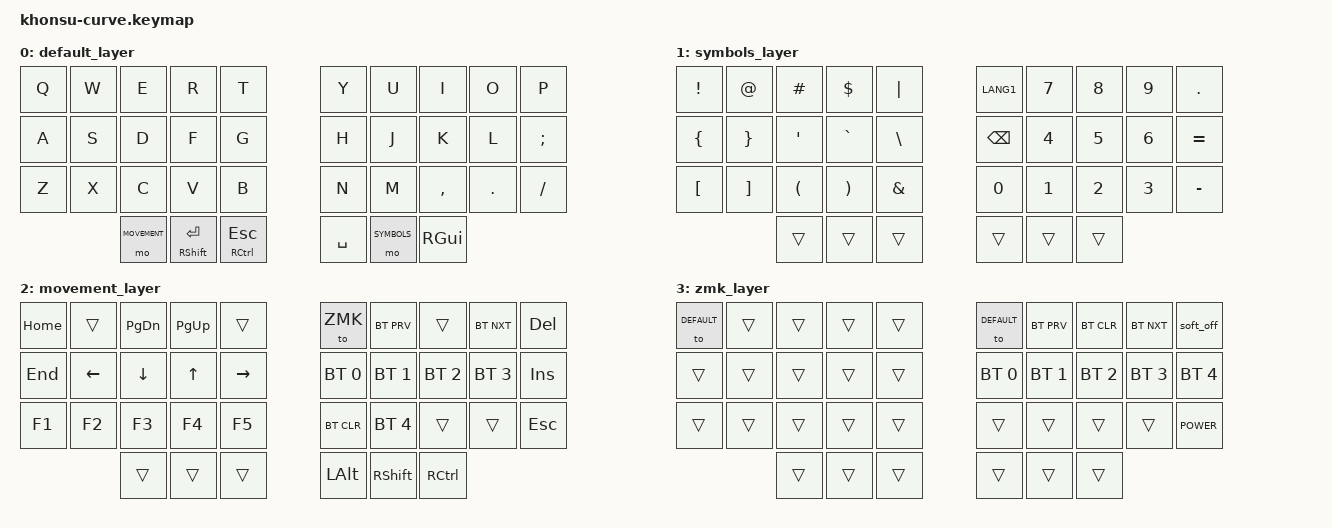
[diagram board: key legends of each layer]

#include <behaviors.dtsi>
#include <dt-bindings/zmk/keys.h>
#include <dt-bindings/zmk/bt.h>
#include <dt-bindings/zmk/outputs.h>

&soft_off {
  hold-time-ms = <5000>;
};
#define DEFAULT 0
#define SYMBOLS 1
#define MOVEMENT 2
#define ZMK 3
/ {
  combos {
    compatible = "zmk,combos";
    combo_power_off_1 {
      timeout-ms = <25>;
      bindings = <&kp K_POWER>;
      key-positions = <0 9>;
    };
    combo_esc_1 {
      timeout-ms = <25>;
      bindings = <&kp ESC>;
      key-positions = <6 7>;
    };
    combo_esc_2 {
      timeout-ms = <25>;
      bindings = <&kp ESC>;
      key-positions = <3 2>;
    };
    combo_enter_1 {
      timeout-ms = <25>;
      bindings = <&kp RET>;
      key-positions = <16 17>;
    };
    combo_enter_2 {
      timeout-ms = <25>;
      bindings = <&kp RET>;
      key-positions = <12 13>;
    };
    combo_tab_1 {
      timeout-ms = <25>;
      bindings = <&kp TAB>;
      key-positions = <26 27>;
    };
    combo_tab_2 {
      timeout-ms = <25>;
      bindings = <&kp TAB>;
      key-positions = <22 23>;
    };
    combo_bkspc_1 {
      timeout-ms = <25>;
      bindings = <&kp BSPC>;
      key-positions = <15 16>;
    };
    combo_bkspc_2 {
      timeout-ms = <25>;
      bindings = <&kp BSPC>;
      key-positions = <13 14>;
    };
    combo_ctl_r_1 {
      timeout-ms = <25>;
      slow-release;
      bindings = <&kp RCTRL>;
      key-positions = <17 18>;
    };
    combo_ctl_l_1 {
      timeout-ms = <25>;
      slow-release;
      bindings = <&kp LCTRL>;
      key-positions = <11 12>;
    };
    combo_alt_1 {
      timeout-ms = <25>;
      slow-release;
      bindings = <&kp LALT>;
      key-positions = <27 28>;
    };
    combo_alt_2 {
      timeout-ms = <25>;
      slow-release;
      bindings = <&kp LALT>;
      key-positions = <21 22>;
    };
    combo_gui_r_1 {
      timeout-ms = <25>;
      slow-release;
      bindings = <&kp RGUI>;
      key-positions = <7 8>;
    };
    combo_gui_l_1 {
      timeout-ms = <25>;
      slow-release;
      bindings = <&kp LGUI>;
      key-positions = <1 2>;
    };
    combo_alt_ctrl_1 {
      timeout-ms = <25>;
      slow-release;
      bindings = <&kp LA(LCTRL)>;
      key-positions = <3 4>;
    };
    combo_alt_ctrl_2 {
      timeout-ms = <25>;
      slow-release;
      bindings = <&kp LA(LCTRL)>;
      key-positions = <5 6>;
    };
    combo_alt_ctrl_3 {
      timeout-ms = <25>;
      slow-release;
      bindings = <&kp LA(LCTRL)>;
      key-positions = <16 17 18>;
    };
    combo_alt_ctrl_4 {
      timeout-ms = <25>;
      slow-release;
      bindings = <&kp LA(LCTRL)>;
      key-positions = <11 12 13>;
    };
    combo_to_zmk_1 {
      timeout-ms = <25>;
      slow-release;
      bindings = <&mo ZMK>;
      key-positions = <20 21 22>;
    };
    combo_shift_alt_1 {
      timeout-ms = <25>;
      slow-release;
      bindings = <&kp RS(LALT)>;
      key-positions = <26 27 28>;
    };
    combo_shift_alt_2 {
      timeout-ms = <25>;
      slow-release;
      bindings = <&kp RS(LALT)>;
      key-positions = <21 22 23>;
    };
    combo_shift_gui_1 {
      timeout-ms = <25>;
      slow-release;
      bindings = <&kp RS(LGUI)>;
      key-positions = <6 7 8>;
    };
    combo_shift_gui_2 {
      timeout-ms = <25>;
      slow-release;
      bindings = <&kp RS(LGUI)>;
      key-positions = <1 2 3>;
    };
    combo_shift_alt_ctrl_1 {
      timeout-ms = <25>;
      slow-release;
      bindings = <&kp LA(RS(LCTRL))>;
      key-positions = <25 26>;
    };
    combo_shift_alt_ctrl_2 {
      timeout-ms = <25>;
      slow-release;
      bindings = <&kp LA(RS(LCTRL))>;
      key-positions = <23 24>;
    };
    combo_shift_ctrl_1 {
      timeout-ms = <25>;
      slow-release;
      bindings = <&kp RS(LCTRL)>;
      key-positions = <16 17 18 19>;
    };
    combo_shift_ctrl_2 {
      timeout-ms = <25>;
      slow-release;
      bindings = <&kp RS(LCTRL)>;
      key-positions = <10 11 12 13>;
    };
    combo_shift_1 {
      timeout-ms = <25>;
      slow-release;
      bindings = <&kp RSHFT>;
      key-positions = <18 19>;
    };
    combo_shift_2 {
      timeout-ms = <25>;
      slow-release;
      bindings = <&kp RSHFT>;
      key-positions = <10 11>;
    };
    combo_thumb_test_1 {
      timeout-ms = <25>;
      slow-release;
      bindings = <&kp A>;
      key-positions = <34 35>;
    };
  };

  keymap {
    compatible = "zmk,keymap";

    default_layer {
      bindings = <
	&kp Q &kp W &kp E &kp R &kp T &kp Y &kp U &kp I &kp O &kp P 
	&kp A &kp S &kp D &kp F &kp G &kp H &kp J &kp K &kp L &kp SEMI 
	&kp Z &kp X &kp C &kp V &kp B &kp N &kp M &kp COMMA &kp DOT &kp FSLH 
	&mo MOVEMENT &mt RSHFT RET &mt RCTRL ESC &kp SPACE &mo SYMBOLS &kp RGUI   

	>;
    };
    symbols_layer {
      bindings = <
	&kp EXCL &kp AT &kp HASH &kp DOLLAR &kp PIPE &kp LANG1 &kp N7 &kp N8 &kp N9 &kp DOT 
	&kp LBRC &kp RBRC &kp SQT &kp GRAVE &kp BSLH &kp BSPC &kp N4 &kp N5 &kp N6 &kp EQUAL 
	&kp LBKT &kp RBKT &kp LPAR &kp RPAR &kp AMPS &kp N0 &kp N1 &kp N2 &kp N3 &kp MINUS 
	&trans &trans &trans &trans &trans &trans   

	>;
    };
    movement_layer {
      bindings = <
	&kp HOME &trans &kp PG_DN &kp PG_UP &trans &to ZMK &bt BT_PRV &trans &bt BT_NXT &kp DEL 
	&kp END &kp LEFT &kp DOWN &kp UP &kp RIGHT &bt BT_SEL 0 &bt BT_SEL 1 &bt BT_SEL 2 &bt BT_SEL 3 &kp INS 
	&kp F1 &kp F2 &kp F3 &kp F4 &kp F5 &bt BT_CLR &bt BT_SEL 4 &trans &trans &kp ESC 
	&trans &trans &trans &kp LALT &kp RSHFT &kp RCTRL   

	>;
    };
    zmk_layer {
      bindings = <
	&to DEFAULT &trans &trans &trans &trans &to DEFAULT &bt BT_PRV &bt BT_CLR &bt BT_NXT &soft_off 
	&trans &trans &trans &trans &trans &bt BT_SEL 0 &bt BT_SEL 1 &bt BT_SEL 2 &bt BT_SEL 3 &bt BT_SEL 4 
	&trans &trans &trans &trans &trans &trans &trans &trans &trans &kp K_POWER 
	&trans &trans &trans &trans &trans &trans   

	>;
    };

  };

};
